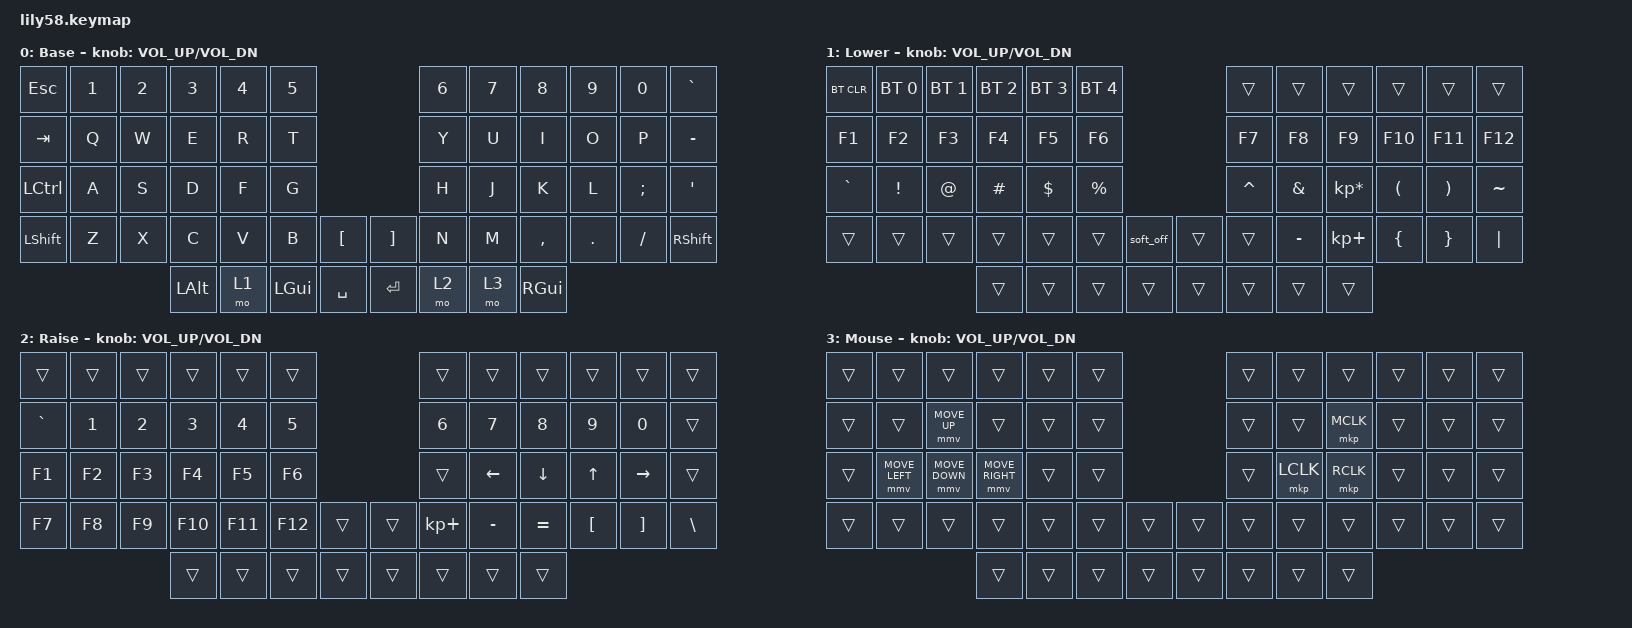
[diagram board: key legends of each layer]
/*
 * Copyright (c) 2020 The ZMK Contributors
 *
 * SPDX-License-Identifier: MIT
 */

#include <behaviors.dtsi>
#include <dt-bindings/zmk/bt.h>
#include <dt-bindings/zmk/keys.h>
#include <dt-bindings/zmk/pointing.h>

&soft_off {
    hold-time-ms = <3000>; // Only turn off it the key is held for 5 seconds or longer.
};

&soft_off {
    /delete-property/ split-peripheral-off-on-press;
};

/ {
    combos {
        compatible = "zmk,combos";

        combo_return {
            bindings = <&kp RETURN>;
            key-positions = <32 33 31>;
        };

        combo_esc {
            bindings = <&kp ESC>;
            key-positions = <28 27 26>;
        };

        combo_bksp {
            bindings = <&kp BACKSPACE>;
            key-positions = <11 10>;
        };
    };

    keymap {
        compatible = "zmk,keymap";

        default_layer {
            // ------------------------------------------------------------------------------------------------------------
            // |  ESC  |  1  |  2  |  3   |  4   |  5   |                   |  6   |  7    |  8    |  9   |   0   |   `   |
            // |  TAB  |  Q  |  W  |  E   |  R   |  T   |                   |  Y   |  U    |  I    |  O   |   P   |   -   |
            // |  CTRL |  A  |  S  |  D   |  F   |  G   |                   |  H   |  J    |  K    |  L   |   ;   |   '   |
            // | SHIFT |  Z  |  X  |  C   |  V   |  B   |   "["  |  |  "]"  |  N   |  M    |  ,    |  .   |   /   | SHIFT |
            //                     | ALT  | GUI  | LOWER|  SPACE |  | ENTER | RAISE| BSPC  | GUI   |

            display-name = "Base";
            bindings = <
&kp ESC    &kp N1  &kp N2  &kp N3    &kp N4  &kp N5                               &kp N6  &kp N7  &kp N8     &kp N9   &kp N0    &kp GRAVE
&kp TAB    &kp Q   &kp W   &kp E     &kp R   &kp T                                &kp Y   &kp U   &kp I      &kp O    &kp P     &kp MINUS
&kp LCTRL  &kp A   &kp S   &kp D     &kp F   &kp G                                &kp H   &kp J   &kp K      &kp L    &kp SEMI  &kp SQT
&kp LSHFT  &kp Z   &kp X   &kp C     &kp V   &kp B         &kp LBKT     &kp RBKT  &kp N   &kp M   &kp COMMA  &kp DOT  &kp FSLH  &kp RSHFT
                           &kp LALT  &mo 1   &kp LEFT_GUI  &kp SPACE    &kp RET   &mo 2   &mo 3   &kp RGUI
            >;

            sensor-bindings = <&inc_dec_kp C_VOL_UP C_VOL_DN>;
        };

        lower_layer {
            // ------------------------------------------------------------------------------------------------------------
            // | BTCLR | BT1 | BT2 |  BT3 |  BT4 |  BT5 |                   |      |       |       |      |       |       |
            // |  F1   |  F2 |  F3 |  F4  |  F5  |  F6  |                   |  F7  |  F8   |  F9   |  F10 |  F11  |  F12  |
            // |   `   |  !  |  @  |  #   |  $   |  %   |                   |  ^   |  &    |  *    |  (   |   )   |   ~   |
            // |       |     |     |      |      |      |        |  |       |      |  _    |  +    |  {   |   }   |  "|"  |
            //                     |      |      |      |        |  |       |      |       |       |

            display-name = "Lower";
            bindings = <
&bt BT_CLR  &bt BT_SEL 0  &bt BT_SEL 1  &bt BT_SEL 2  &bt BT_SEL 3  &bt BT_SEL 4                       &trans     &trans     &trans           &trans    &trans    &trans
&kp F1      &kp F2        &kp F3        &kp F4        &kp F5        &kp F6                             &kp F7     &kp F8     &kp F9           &kp F10   &kp F11   &kp F12
&kp GRAVE   &kp EXCL      &kp AT        &kp HASH      &kp DOLLAR    &kp PRCNT                          &kp CARET  &kp AMPS   &kp KP_MULTIPLY  &kp LPAR  &kp RPAR  &kp TILDE
&trans      &trans        &trans        &trans        &trans        &trans        &soft_off    &trans  &trans     &kp MINUS  &kp KP_PLUS      &kp LBRC  &kp RBRC  &kp PIPE
                                        &trans        &trans        &trans        &trans       &trans  &trans     &trans     &trans
            >;

            sensor-bindings = <&inc_dec_kp C_VOL_UP C_VOL_DN>;
        };

        raise_layer {
            // ------------------------------------------------------------------------------------------------------------
            // |       |     |     |      |      |      |                   |      |       |       |      |       |       |
            // |   `   |  1  |  2  |  3   |  4   |  5   |                   |  6   |   7   |   8   |  9   |   0   |       |
            // |   F1  |  F2 |  F3 |  F4  |  F5  |  F6  |                   |      |   <-  |   v   |  ^   |  ->   |       |
            // |   F7  |  F8 |  F9 |  F10 |  F11 |  F12 |        |  |       |  +   |   -   |   =   |  [   |   ]   |   \   |
            //                     |      |      |      |        |  |       |      |       |       |

            display-name = "Raise";
            bindings = <
&trans     &trans  &trans  &trans   &trans   &trans                     &trans       &trans     &trans     &trans    &trans     &trans
&kp GRAVE  &kp N1  &kp N2  &kp N3   &kp N4   &kp N5                     &kp N6       &kp N7     &kp N8     &kp N9    &kp N0     &trans
&kp F1     &kp F2  &kp F3  &kp F4   &kp F5   &kp F6                     &trans       &kp LEFT   &kp DOWN   &kp UP    &kp RIGHT  &trans
&kp F7     &kp F8  &kp F9  &kp F10  &kp F11  &kp F12  &trans    &trans  &kp KP_PLUS  &kp MINUS  &kp EQUAL  &kp LBKT  &kp RBKT   &kp BSLH
                           &trans   &trans   &trans   &trans    &trans  &trans       &trans     &trans
            >;

            sensor-bindings = <&inc_dec_kp C_VOL_UP C_VOL_DN>;
        };

        mouse_layer {
            display-name = "Mouse";
            bindings = <
&trans  &trans          &trans          &trans           &trans  &trans                    &trans  &trans     &trans     &trans  &trans  &trans
&trans  &trans          &mmv MOVE_UP    &trans           &trans  &trans                    &trans  &trans     &mkp MCLK  &trans  &trans  &trans
&trans  &mmv MOVE_LEFT  &mmv MOVE_DOWN  &mmv MOVE_RIGHT  &trans  &trans                    &trans  &mkp LCLK  &mkp RCLK  &trans  &trans  &trans
&trans  &trans          &trans          &trans           &trans  &trans  &trans    &trans  &trans  &trans     &trans     &trans  &trans  &trans
                                        &trans           &trans  &trans  &trans    &trans  &trans  &trans     &trans
            >;

            sensor-bindings = <&inc_dec_kp C_VOL_UP C_VOL_DN>;
        };
    };
};
